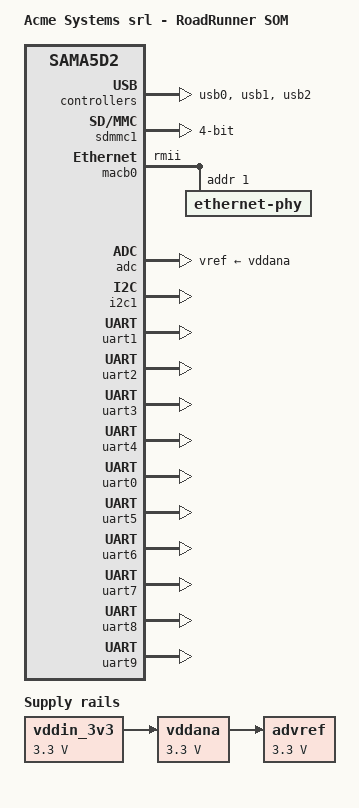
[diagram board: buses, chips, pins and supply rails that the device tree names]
// SPDX-License-Identifier: (GPL-2.0+ OR MIT)
/*
 * acme-roadrunner.dts - Device Tree file for Roadrunner SOM
 *
 *  Copyright (C) 2015 Atmel,
 *                2015 Nicolas Ferre <nicolas.ferre@atmel.com>
 * 	
 *  Copyright (C) 2022 Sergio Tanzilli <tanzilli@acmesystems.it>
 */
/dts-v1/;
#include "sama5d2.dtsi"
#include "sama5d2-pinfunc.h"
#include <dt-bindings/mfd/atmel-flexcom.h>
#include <dt-bindings/gpio/gpio.h>
#include <dt-bindings/input/input.h> 

/ {
	model = "Acme Systems srl - RoadRunner SOM";
	compatible = "atmel,sama5d2-roadrunner", "atmel,sama5d2", "atmel,sama5";

	aliases {
		serial0 = &uart1; /* /dev/ttyS0 Debug port */
		serial1 = &uart2; /* /dev/ttyS1            */
		serial2 = &uart3; /* /dev/ttyS2            */
		serial3 = &uart4; /* /dev/ttyS3            */
		serial4 = &uart0; /* /dev/ttyS4            */
		serial5 = &uart5; /* /dev/ttyS5            */
		serial6 = &uart6; /* /dev/ttyS6            */
		serial7 = &uart7; /* /dev/ttyS7            */
		serial8 = &uart8; /* /dev/ttyS8            */
		serial9 = &uart9; /* /dev/ttyS9            */
	};

	chosen {
		stdout-path = "serial0:115200n8";
		bootargs = "mem=256M console=ttyS0,115200 root=/dev/mmcblk0p2 rootfstype=ext4 rw rootwait net.ifnames=0";
	};

	clocks {
		slow_xtal {
			clock-frequency = <32768>;
		};

		main_xtal {
			clock-frequency = <12000000>;
		};
	};
 
	ahb {
		usb0: gadget@300000 {
			atmel,vbus-gpio = <&pioA PIN_PA31 GPIO_ACTIVE_HIGH>;
			pinctrl-names = "default";
			pinctrl-0 = <&pinctrl_usba_vbus>;
			status = "okay";
		};

		usb1: ohci@400000 {
			num-ports = <3>;
			atmel,vbus-gpio = <0 /* &pioA PIN_PB10 GPIO_ACTIVE_HIGH */
					   &pioA PIN_PB9 GPIO_ACTIVE_HIGH
					   0
					  >;
			pinctrl-names = "default";
			pinctrl-0 = <&pinctrl_usb_default>;
			status = "okay";
		};

		usb2: ehci@500000 {
			status = "okay";
		};

		sdmmc1: sdio-host@b0000000 {
			bus-width = <4>;
			pinctrl-names = "default";
			pinctrl-0 = <&pinctrl_sdmmc1_default>;
			status = "okay"; /* conflict with qspi0 */
		};

		apb {
			macb0: ethernet@f8008000 {
				pinctrl-names = "default";
				pinctrl-0 = <&pinctrl_macb0_default &pinctrl_macb0_phy_irq>;
				phy-mode = "rmii";
				status = "okay";

				ethernet-phy@1 {
					reg = <0x1>;
				};
			};

			tcb0: timer@f800c000 {
				timer0: timer@0 {
					compatible = "atmel,tcb-timer";
					reg = <0>;
				};

				timer1: timer@1 {
					compatible = "atmel,tcb-timer";
					reg = <1>;
				};
			};

			vddin_3v3: fixed-regulator-vddin_3v3 {
				compatible = "regulator-fixed";

				regulator-name = "VDDIN_3V3";
				regulator-min-microvolt = <3300000>;
				regulator-max-microvolt = <3300000>;
				regulator-always-on;
				regulator-boot-on;
				status = "okay";
			};

			vddana: fixed-regulator-vddana {
				compatible = "regulator-fixed";

				regulator-name = "VDDANA";
				regulator-min-microvolt = <3300000>;
				regulator-max-microvolt = <3300000>;
				regulator-always-on;
				regulator-boot-on;
				vin-supply = <&vddin_3v3>;
				status = "okay";
			};

			advref: fixed-regulator-advref {
				compatible = "regulator-fixed";

				regulator-name = "advref";
				regulator-min-microvolt = <3300000>;
				regulator-max-microvolt = <3300000>;
				regulator-always-on;
				regulator-boot-on;
				vin-supply = <&vddana>;
				status = "okay";
			};

			adc: adc@fc030000 {
				vddana-supply = <&vddana>; 
				vref-supply =  <&vddana>; 
				pinctrl-names = "default";
				pinctrl-0 = <&pinctrl_adc_default>;
				status = "okay";
			};

			i2c1: i2c@fc028000 {
				dmas = <0>, <0>;
				pinctrl-names = "default";
				pinctrl-0 = <&pinctrl_i2c1_default>;
				status = "okay";
			};

			uart1: serial@f8020000 {
				pinctrl-names = "default";
				pinctrl-0 = <&pinctrl_uart1_default>;
				atmel,use-dma-rx;
				atmel,use-dma-tx;
				status = "okay";
			};

      		/* /dev/ttyS1 */
			uart2: serial@f8024000 {
				pinctrl-names = "default";
				pinctrl-0 = <&pinctrl_uart2_ioset2>;
				status = "okay";
			};

			/* /dev/ttyS2 */
			uart3: serial@fc008000 {
				pinctrl-names = "default";
				pinctrl-0 = <&pinctrl_uart3_ioset1>;
				status = "okay";
			};

			/* /dev/ttyS3 */
			uart4: serial@fc00c000 {
				pinctrl-names = "default";
				pinctrl-0 = <&pinctrl_uart4_ioset1>;
				status = "okay";
			};

			/* /dev/ttyS4 */
			uart0: serial@f801c000 {
				pinctrl-names = "default";
				pinctrl-0 = <&pinctrl_uart0_ioset1>;
				status = "okay";
			};

    		/* /dev/ttyS5 */
      		flx0: flexcom@f8034000 {
				atmel,flexcom-mode = <ATMEL_FLEXCOM_MODE_USART>;
				status = "okay";

				uart5: serial@200 {
					compatible = "atmel,at91sam9260-usart";
					reg = <0x200 0x200>;
					interrupts = <19 IRQ_TYPE_LEVEL_HIGH 7>;
					clocks = <&pmc PMC_TYPE_PERIPHERAL 19>;
					clock-names = "usart";
					pinctrl-names = "default";
					pinctrl-0 = <&pinctrl_flx0_default>;
					atmel,fifo-size = <32>;
					status = "okay";
				};
			};

      		/* /dev/ttyS6 */
			flx1: flexcom@f8038000 {
				atmel,flexcom-mode = <ATMEL_FLEXCOM_MODE_USART>;
				status = "okay";

				uart6: serial@200 {
					compatible = "atmel,at91sam9260-usart";
					reg = <0x200 0x200>;
					interrupts = <20 IRQ_TYPE_LEVEL_HIGH 7>;
					clocks = <&pmc PMC_TYPE_PERIPHERAL 20>;
					clock-names = "usart";
					pinctrl-names = "default";
					pinctrl-0 = <&pinctrl_flx1_default>;
					atmel,fifo-size = <32>;
					status = "okay";
				};
			};

			/* /dev/ttyS7 */
			flx2: flexcom@fc010000 {
				atmel,flexcom-mode = <ATMEL_FLEXCOM_MODE_USART>;
				status = "okay";

				uart7: serial@200 {
					compatible = "atmel,at91sam9260-usart";
					reg = <0x200 0x200>;
					interrupts = <21 IRQ_TYPE_LEVEL_HIGH 7>;
					clocks = <&pmc PMC_TYPE_PERIPHERAL 21>;
					clock-names = "usart";
					pinctrl-names = "default";
					pinctrl-0 = <&pinctrl_flx2_default>;
					atmel,fifo-size = <32>;
					status = "okay";
				};
			};

			/* /dev/ttyS8 */
			flx3: flexcom@fc014000 {
				atmel,flexcom-mode = <ATMEL_FLEXCOM_MODE_USART>;
				status = "okay";

				uart8: serial@200 {
					dmas = <0>, <0>;
					compatible = "atmel,at91sam9260-usart";
					reg = <0x200 0x200>;
					interrupts = <22 IRQ_TYPE_LEVEL_HIGH 7>;
					clocks = <&pmc PMC_TYPE_PERIPHERAL 22>;
					clock-names = "usart";
					pinctrl-names = "default";
					pinctrl-0 = <&pinctrl_flx3_default>;
					atmel,fifo-size = <32>;
					status = "okay";
				};
			};

			/* /dev/ttyS9 */
			flx4: flexcom@fc018000 {
				atmel,flexcom-mode = <ATMEL_FLEXCOM_MODE_USART>;
				status = "okay";

				uart9: serial@200 {
					compatible = "atmel,at91sam9260-usart";
					reg = <0x200 0x200>;
					interrupts = <23 IRQ_TYPE_LEVEL_HIGH 7>;
					clocks = <&pmc PMC_TYPE_PERIPHERAL 23>;
					clock-names = "usart";
					pinctrl-names = "default";
					pinctrl-0 = <&pinctrl_flx4_default>;
					atmel,fifo-size = <32>;
					status = "okay";
				};
			};

			shdwc@f8048010 {
				atmel,shdwc-debouncer = <976>;
				atmel,wakeup-rtc-timer;

				input@0 {
					reg = <0>;
					atmel,wakeup-type = "low";
				};
			};

			watchdog@f8048040 {
				status = "okay";
			};

			pinctrl@fc038000 {
				pinctrl_macb0_default: macb0_default {
					pinmux = <PIN_PB14__GTXCK>,
						 <PIN_PB15__GTXEN>,
						 <PIN_PB16__GRXDV>,
						 <PIN_PB17__GRXER>,
						 <PIN_PB18__GRX0>,
						 <PIN_PB19__GRX1>,
						 <PIN_PB20__GTX0>,
						 <PIN_PB21__GTX1>,
						 <PIN_PB22__GMDC>,
						 <PIN_PB23__GMDIO>;
					bias-disable;
				};

				pinctrl_macb0_phy_irq: macb0_phy_irq {
					pinmux = <PIN_PC9__GPIO>;
					bias-disable;
				};


				pinctrl_sdmmc1_default: sdmmc1_default {
					cmd_data {
						pinmux = <PIN_PA28__SDMMC1_CMD>,
							 <PIN_PA18__SDMMC1_DAT0>,
							 <PIN_PA19__SDMMC1_DAT1>,
							 <PIN_PA20__SDMMC1_DAT2>,
							 <PIN_PA21__SDMMC1_DAT3>;
						bias-pull-up;
					};

					conf-ck_cd {
						pinmux = <PIN_PA22__SDMMC1_CK>,
							 <PIN_PA30__SDMMC1_CD>;
						bias-disable;
					};
				};

				pinctrl_adc_default: adc_default {
					pinmux = <PIN_PD21__GPIO>,
							<PIN_PD22__GPIO>;
					bias-disable;
				};

				pinctrl_i2c1_default: i2c1_default {
					pinmux = <PIN_PD19__TWD1>,
						<PIN_PD20__TWCK1>;
					bias-disable;
				};

        		/* Debug port */
				pinctrl_uart1_default: uart1_default {
					pinmux = <PIN_PD2__URXD1>,
						 <PIN_PD3__UTXD1>;
					bias-disable;
				};

		        pinctrl_uart0_ioset1: uart0_ioset1 {
					pinmux = <PIN_PB26__URXD0>,
						 <PIN_PB27__UTXD0>;
					bias-disable;
				};

				pinctrl_uart2_ioset1: uart2_ioset1 {
					pinmux = <PIN_PD4__URXD2>,
						 <PIN_PD5__UTXD2>;
					bias-disable;
				};

				pinctrl_uart2_ioset2: uart2_ioset2 {
					pinmux = <PIN_PD23__URXD2>,
						 <PIN_PD24__UTXD2>;
					bias-disable;
				};

				pinctrl_uart2_ioset3: uart2_ioset3 {
					pinmux = <PIN_PD19__URXD2>,
						 <PIN_PD20__UTXD2>;
					bias-disable;
				};

				pinctrl_uart3_ioset1: uart3_ioset1 {
					pinmux = <PIN_PC12__URXD3>,
						 <PIN_PC13__UTXD3>;
					bias-disable;
				};

				pinctrl_uart3_ioset2: uart3_ioset2 {
					pinmux = <PIN_PC31__URXD3>,
						 <PIN_PD0__UTXD3>;
					bias-disable;
				};

				pinctrl_uart3_ioset3: uart3_ioset3 {
					pinmux = <PIN_PB11__URXD3>,
						 <PIN_PB12__UTXD3>;
					bias-disable;
				};

				pinctrl_uart4_ioset1: uart4_ioset1 {
					pinmux = <PIN_PB3__URXD4>,
						 <PIN_PB4__UTXD4>;
					bias-disable;
				};

      			pinctrl_flx0_default: flx0_default {
					pinmux = <PIN_PB28__FLEXCOM0_IO0>,
						 <PIN_PB29__FLEXCOM0_IO1>;
					bias-disable;
				};

        		pinctrl_flx1_default: flx1_default {
					pinmux = <PIN_PA24__FLEXCOM1_IO0>,
						 <PIN_PA23__FLEXCOM1_IO1>;
					bias-disable;
				};

				pinctrl_flx2_default: flx2_default {
					pinmux = <PIN_PD26__FLEXCOM2_IO0>,
						 <PIN_PD27__FLEXCOM2_IO1>;
					bias-disable;
				};

				pinctrl_flx3_default: flx3_default {
					pinmux = <PIN_PA15__FLEXCOM3_IO0>,
						 <PIN_PA13__FLEXCOM3_IO1>;
					bias-disable;
				};

				pinctrl_flx4_default: flx4_default {
					pinmux = <PIN_PC28__FLEXCOM4_IO0>,
						 <PIN_PC29__FLEXCOM4_IO1>;
					bias-disable;
				};

				pinctrl_usb_default: usb_default {
					pinmux = <PIN_PB9__GPIO>;
					bias-disable;
				};

				pinctrl_usba_vbus: usba_vbus {
					pinmux = <PIN_PA31__GPIO>;
					bias-disable;
				};
			};
		};
	};
};
